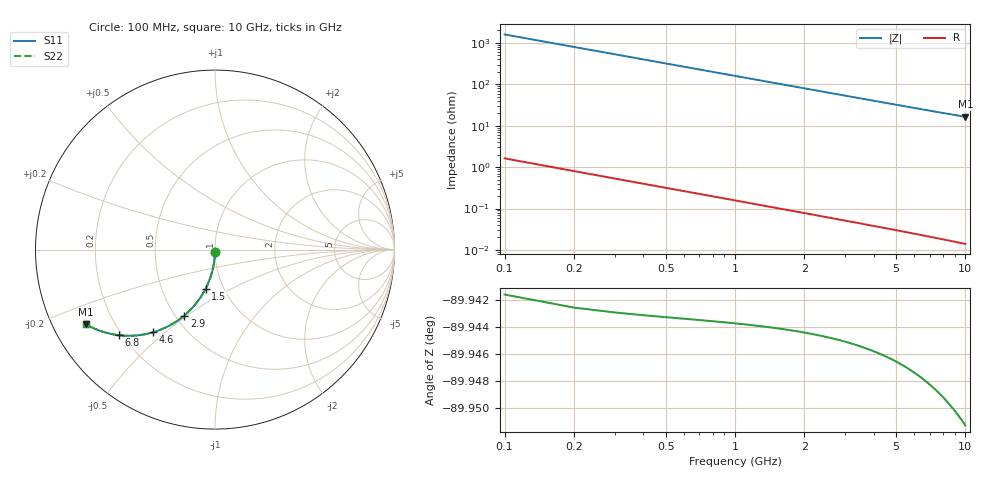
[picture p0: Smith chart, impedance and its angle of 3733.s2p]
# Hz S RI R 50.00
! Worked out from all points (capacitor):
!   100 points, 100 MHz to 10 GHz, reference 50 ohm
!   read as one part in shunt: C = 995 fF near 100 MHz
!   lowest |Z| = 16.4 ohm at 10 GHz (marker M1)
!   S11 on the Smith chart (normalised r, x): 100 MHz: 1.00, -0.03; 1.5 GHz: 0.82, -0.38; 2.9 GHz: 0.55, -0.49; 4.6 GHz: 0.33, -0.46; 6.8 GHz: 0.19, -0.37; 10 GHz: 0.10, -0.27
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1e8  -0.000175 -0.0153  0.9997 -0.0159  0.9997 -0.0159  -0.000175 -0.0153
2e8  -0.000921 -0.0306  0.9989 -0.0318  0.9989 -0.0318  -0.000921 -0.0306
3e8  -0.00215 -0.0459  0.9977 -0.0477  0.9977 -0.0477  -0.00215 -0.0459
4e8  -0.00387 -0.061  0.996 -0.0635  0.996 -0.0635  -0.00387 -0.061
5e8  -0.00606 -0.0761  0.9938 -0.0792  0.9938 -0.0792  -0.00606 -0.0761
6e8  -0.00872 -0.0911  0.9911 -0.0948  0.9911 -0.0948  -0.00872 -0.0911
7e8  -0.0118 -0.106  0.988 -0.1103  0.988 -0.1103  -0.0118 -0.106
9e8  -0.0195 -0.1352  0.9804 -0.1407  0.9804 -0.1407  -0.0195 -0.1352
1.2e9  -0.0341 -0.1775  0.9657 -0.1849  0.9657 -0.1849  -0.0341 -0.1775
1.5e9  -0.0523 -0.2177  0.9475 -0.2269  0.9475 -0.2269  -0.0523 -0.2177
1.8e9  -0.0736 -0.2553  0.9261 -0.2664  0.9261 -0.2664  -0.0736 -0.2553
2.3e9  -0.1149 -0.3116  0.8848 -0.3257  0.8848 -0.3257  -0.1149 -0.3116
2.9e9  -0.1713 -0.3675  0.8283 -0.3854  0.8283 -0.3854  -0.1713 -0.3675
3.4e9  -0.2216 -0.4044  0.778 -0.4254  0.778 -0.4254  -0.2216 -0.4044
4e9  -0.283 -0.4377  0.7165 -0.4624  0.7165 -0.4624  -0.283 -0.4377
4.6e9  -0.3435 -0.4602  0.6559 -0.4887  0.6559 -0.4887  -0.3435 -0.4602
5.1e9  -0.3919 -0.4719  0.6074 -0.5036  0.6074 -0.5036  -0.3919 -0.4719
5.9e9  -0.464 -0.4798  0.5352 -0.5166  0.5352 -0.5166  -0.464 -0.4798
6.7e9  -0.5284 -0.4777  0.4705 -0.5196  0.4705 -0.5196  -0.5284 -0.4777
6.8e9  -0.5359 -0.4769  0.463 -0.5195  0.463 -0.5195  -0.5359 -0.4769
8.4e9  -0.6399 -0.4527  0.3585 -0.5058  0.3585 -0.5058  -0.6399 -0.4527
1e10  -0.7176 -0.4172  0.2801 -0.481  0.2801 -0.481  -0.7176 -0.4172
